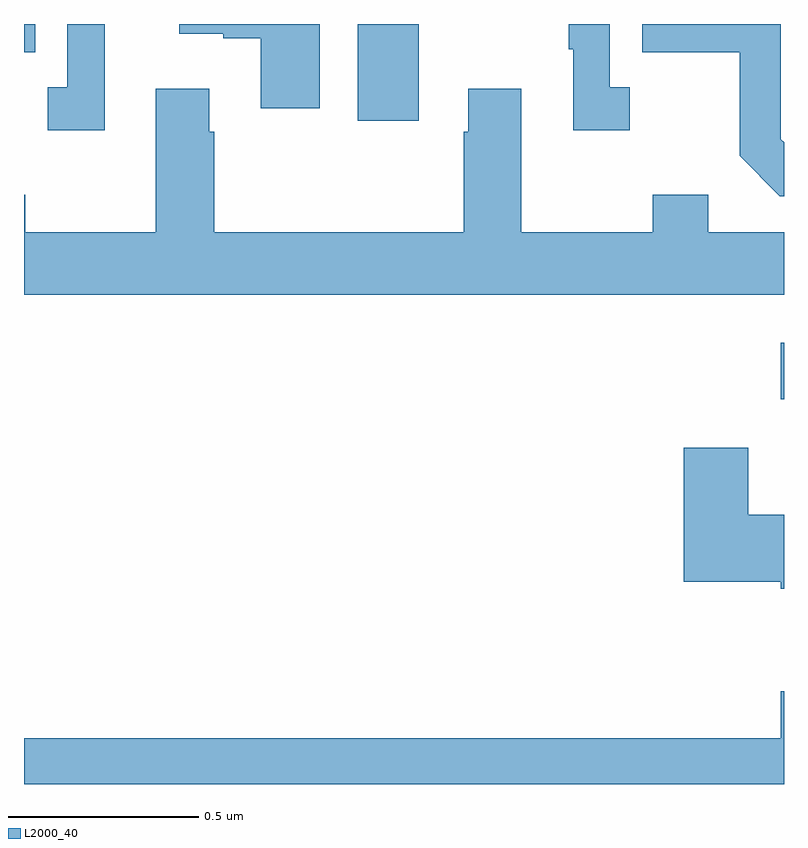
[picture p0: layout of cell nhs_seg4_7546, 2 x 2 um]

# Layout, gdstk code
import gdstk
lib = gdstk.Library(unit=1e-6, precision=1e-09)
def R(c, l, rs):  # rectangles x0, y0, x1, y1
    for r in rs: c.add(gdstk.rectangle(r[:2], r[2:], *l))
def P(c, l, *ps):  # polygons
    for p in ps: c.add(gdstk.Polygon(p, *l))
L2000_40 = (2000, 40)

nhs_seg4_7546 = lib.new_cell('nhs_seg4_7546')
R(nhs_seg4_7546, L2000_40, [(205.991,761.913,206,762.061), (204.878,762.645,205.039,762.9), (204,762.826,204.029,762.9)])
P(nhs_seg4_7546, L2000_40, [(205.594,762.734),(205.542,762.734),(205.542,762.9),(205.434,762.9),(205.434,762.833),(205.445,762.833),(205.445,762.621),(205.594,762.621)],
  [(204.778,762.9),(204.408,762.9),(204.408,762.875),(204.524,762.875),(204.524,762.863),(204.623,762.863),(204.623,762.678),(204.778,762.678)],
  [(204.212,762.9),(204.114,762.9),(204.114,762.734),(204.063,762.734),(204.063,762.621),(204.212,762.621)],
  [(206,762.589),(205.992,762.597),(205.992,762.9),(205.627,762.9),(205.627,762.826),(205.884,762.826),(205.884,762.553),(205.989,762.447),(206,762.447)],
  [(205.169,762.73),(205.169,762.617),(205.157,762.617),(205.157,762.352),(204.5,762.352),(204.5,762.617),(204.487,762.617),(204.487,762.73),(204.347,762.73),(204.347,762.352),(204.003,762.352),(204.003,762.451),(204,762.451),(204,762.188),(206,762.188),(206,762.352),(205.801,762.352),(205.801,762.451),(205.654,762.451),(205.654,762.352),(205.309,762.352),(205.309,762.73)],
  [(206,761.608),(205.906,761.608),(205.906,761.785),(205.736,761.785),(205.736,761.432),(205.992,761.432),(205.992,761.414),(206,761.414)],
  [(206,761.144),(205.991,761.144),(205.991,761.02),(204,761.02),(204,760.9),(206,760.9)])

lib.write_gds('nhs_seg4_7546.gds')
